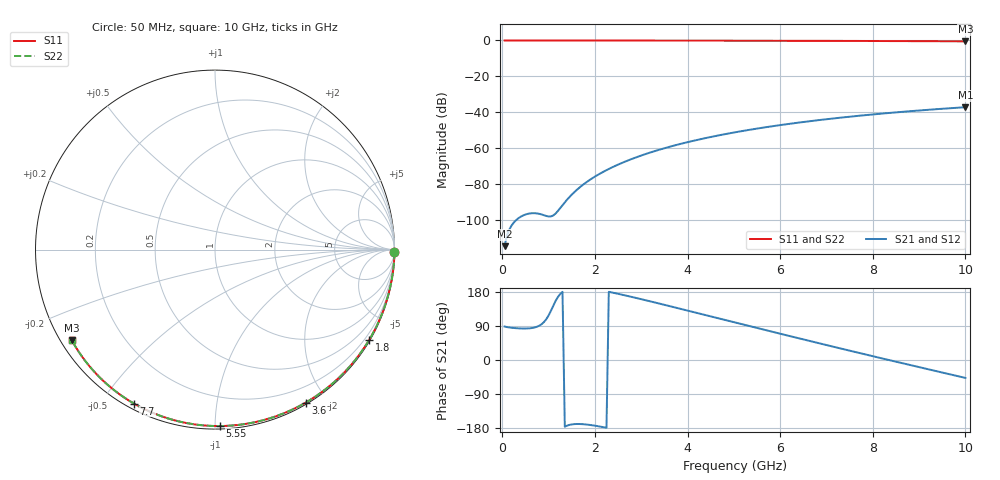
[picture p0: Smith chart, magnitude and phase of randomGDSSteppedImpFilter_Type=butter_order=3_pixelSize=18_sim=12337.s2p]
! freq	dB(S11)	phase(S11)	dB(S12)	phase(S12)
!  dB(S21)	phase(S21)	dB(S22)	phase(S22)
!S-par simulation data
#  GHz  S  DB  R 50
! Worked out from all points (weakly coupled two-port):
!   200 points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, 50 MHz to 10 GHz, reference 50 ohm
!   highest |S21| = -37.24 dB at 10 GHz (marker M1); lowest = -114.8 dB at 50 MHz (marker M2)
!   lowest |S11| = -0.5 dB at 10 GHz (marker M3), VSWR 34.95, Z = 1.55 - j14.4 ohm
!   |S11| at or under -10 dB: nowhere
!   |S22| runs from -0.5 to 0.0 dB; largest |S21 - S12| = 0
!   S11 on the Smith chart (normalised r, x): 50 MHz: open; 1.8 GHz: 0.03, -3.67; 3.6 GHz: 0.02, -1.76; 5.55 GHz: 0.02, -1.03; 7.7 GHz: 0.02, -0.60; 10 GHz: 0.03, -0.29
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0.05  -0.00 -0.9  -114.78 88.3  -114.78 88.3  -0.00 -0.9
0.45  -0.01 -7.7  -97.65 83.1  -97.65 83.1  -0.01 -7.7
0.9  -0.02 -15.4  -97.52 100.1  -97.52 100.1  -0.02 -15.4
1.3  -0.03 -22.1  -91.90 179.9  -91.90 179.9  -0.03 -22.1
1.75  -0.04 -29.6  -80.36 -169.5  -80.36 -169.5  -0.04 -29.6
1.8  -0.04 -30.4  -79.40 -170.0  -79.40 -170.0  -0.04 -30.4
1.95  -0.04 -32.9  -76.77 -172.3  -76.77 -172.3  -0.04 -32.9
2.1  -0.05 -35.4  -74.45 -175.3  -74.45 -175.3  -0.05 -35.4
2.3  -0.05 -38.7  -71.70 179.9  -71.70 179.9  -0.05 -38.7
2.5  -0.05 -41.9  -69.27 174.7  -69.27 174.7  -0.05 -41.9
2.9  -0.06 -48.3  -65.12 163.5  -65.12 163.5  -0.06 -48.3
3.4  -0.07 -56.2  -60.88 148.7  -60.88 148.7  -0.07 -56.2
3.6  -0.08 -59.3  -59.41 142.6  -59.41 142.6  -0.08 -59.3
4.3  -0.10 -70.0  -54.96 121.2  -54.96 121.2  -0.10 -70.0
5.05  -0.12 -81.1  -51.13 98.3  -51.13 98.3  -0.12 -81.1
5.55  -0.14 -88.3  -48.97 83.0  -48.97 83.0  -0.14 -88.3
6.1  -0.17 -96.1  -46.87 66.4  -46.87 66.4  -0.17 -96.1
6.7  -0.20 -104.3  -44.86 48.3  -44.86 48.3  -0.20 -104.3
7.7  -0.27 -117.7  -42.02 18.8  -42.02 18.8  -0.27 -117.7
8.35  -0.32 -126.3  -40.46 -0.1  -40.46 -0.1  -0.32 -126.3
9.2  -0.41 -137.3  -38.68 -24.5  -38.68 -24.5  -0.41 -137.3
10  -0.50 -147.8  -37.24 -47.3  -37.24 -47.3  -0.50 -147.8
